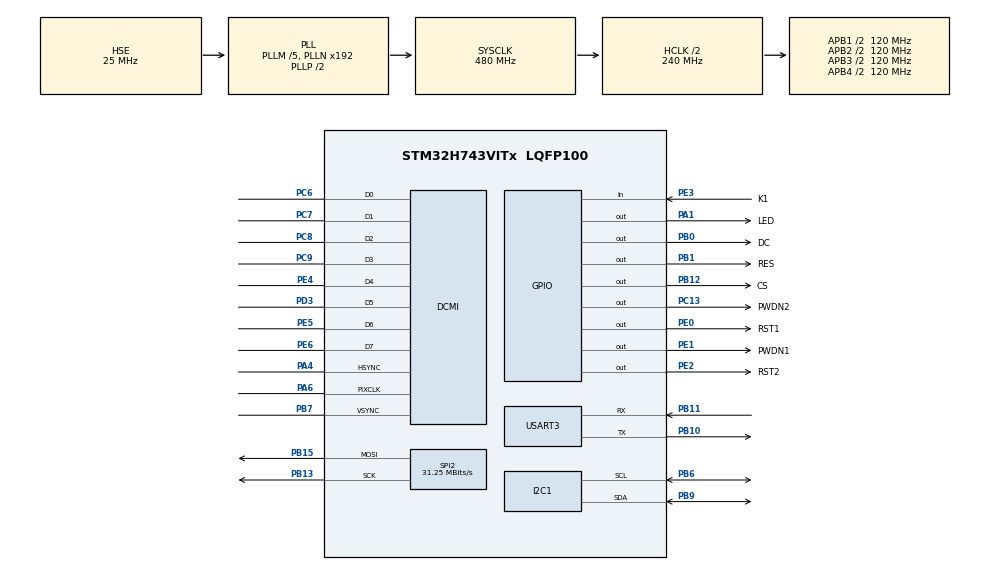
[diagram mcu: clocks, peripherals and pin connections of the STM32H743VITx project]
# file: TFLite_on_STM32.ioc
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CORTEX_M7.CPU_DCache=Enabled
CORTEX_M7.CPU_ICache=Enabled
DCMI.PCKPolarity=DCMI_PCKPOLARITY_RISING
Dma.DCMI.0.Direction=DMA_PERIPH_TO_MEMORY
Dma.DCMI.0.EventEnable=DISABLE
Dma.DCMI.0.FIFOMode=DMA_FIFOMODE_ENABLE
Dma.DCMI.0.FIFOThreshold=DMA_FIFO_THRESHOLD_FULL
Dma.DCMI.0.Instance=DMA2_Stream1
Dma.DCMI.0.MemBurst=DMA_MBURST_SINGLE
Dma.DCMI.0.MemDataAlignment=DMA_MDATAALIGN_BYTE
Dma.DCMI.0.MemInc=DMA_MINC_ENABLE
Dma.DCMI.0.Mode=DMA_CIRCULAR
Dma.DCMI.0.PeriphBurst=DMA_PBURST_SINGLE
Dma.DCMI.0.PeriphDataAlignment=DMA_PDATAALIGN_WORD
Dma.DCMI.0.PeriphInc=DMA_PINC_DISABLE
Dma.DCMI.0.Polarity=HAL_DMAMUX_REQ_GEN_RISING
Dma.DCMI.0.Priority=DMA_PRIORITY_VERY_HIGH
Dma.DCMI.0.RequestNumber=1
Dma.DCMI.0.SignalID=NONE
Dma.DCMI.0.SyncEnable=DISABLE
Dma.DCMI.0.SyncPolarity=HAL_DMAMUX_SYNC_NO_EVENT
Dma.DCMI.0.SyncRequestNumber=1
Dma.DCMI.0.SyncSignalID=NONE
Dma.Request0=DCMI
Dma.Request1=SPI2_TX
Dma.SPI2_TX.1.Direction=DMA_MEMORY_TO_PERIPH
Dma.SPI2_TX.1.EventEnable=DISABLE
Dma.SPI2_TX.1.FIFOMode=DMA_FIFOMODE_DISABLE
Dma.SPI2_TX.1.Instance=DMA1_Stream7
Dma.SPI2_TX.1.MemDataAlignment=DMA_MDATAALIGN_BYTE
Dma.SPI2_TX.1.MemInc=DMA_MINC_ENABLE
Dma.SPI2_TX.1.Mode=DMA_NORMAL
Dma.SPI2_TX.1.PeriphDataAlignment=DMA_PDATAALIGN_BYTE
Dma.SPI2_TX.1.PeriphInc=DMA_PINC_DISABLE
Dma.SPI2_TX.1.Polarity=HAL_DMAMUX_REQ_GEN_RISING
Dma.SPI2_TX.1.Priority=DMA_PRIORITY_HIGH
Dma.SPI2_TX.1.RequestNumber=1
Dma.SPI2_TX.1.SignalID=NONE
Dma.SPI2_TX.1.SyncEnable=DISABLE
Dma.SPI2_TX.1.SyncPolarity=HAL_DMAMUX_SYNC_NO_EVENT
Dma.SPI2_TX.1.SyncRequestNumber=1
Dma.SPI2_TX.1.SyncSignalID=NONE
I2C1.I2C_Fall_Time=300
I2C1.I2C_Rise_Time=300
I2C1.Timing=0x70843A4F
Mcu.Family=STM32H7
Mcu.Name=STM32H743VITx
Mcu.Package=LQFP100
NVIC.DMA1_Stream7_IRQn=true\:0\:0\:false\:false\:true\:false\:true
NVIC.DMA2_Stream1_IRQn=true\:0\:0\:false\:false\:true\:false\:true
NVIC.PriorityGroup=NVIC_PRIORITYGROUP_4
NVIC.SPI2_IRQn=true\:0\:0\:false\:false\:true\:false\:true
NVIC.TIM6_DAC_IRQn=true\:0\:0\:false\:false\:true\:true\:true
PA1.GPIO_Label=LED
PA1.GPIO_Speed=GPIO_SPEED_FREQ_MEDIUM
PA1.Signal=GPIO_Output
PA4.Mode=Slave_8_bits_External_Synchro
PA4.Signal=DCMI_HSYNC
PA6.Mode=Slave_8_bits_External_Synchro
PA6.Signal=DCMI_PIXCLK
PB0.GPIO_Label=DC
PB0.GPIO_Speed=GPIO_SPEED_FREQ_MEDIUM
PB0.Signal=GPIO_Output
PB1.GPIO_Label=RES
PB1.GPIO_Speed=GPIO_SPEED_FREQ_MEDIUM
PB1.Signal=GPIO_Output
PB10.GPIO_Speed=GPIO_SPEED_FREQ_VERY_HIGH
PB10.Mode=Asynchronous
PB10.Signal=USART3_TX
PB11.GPIO_Speed=GPIO_SPEED_FREQ_VERY_HIGH
PB11.Mode=Asynchronous
PB11.Signal=USART3_RX
PB12.GPIO_Label=CS
PB12.GPIO_Speed=GPIO_SPEED_FREQ_HIGH
PB12.Signal=GPIO_Output
PB13.Mode=TX_Only_Simplex_Unidirect_Master
PB13.Signal=SPI2_SCK
PB15.Mode=TX_Only_Simplex_Unidirect_Master
PB15.Signal=SPI2_MOSI
PB6.GPIO_Pu=GPIO_PULLUP
PB6.GPIO_Speed=GPIO_SPEED_FREQ_VERY_HIGH
PB6.Mode=I2C
PB6.Signal=I2C1_SCL
PB7.Mode=Slave_8_bits_External_Synchro
PB7.Signal=DCMI_VSYNC
PB9.GPIO_Pu=GPIO_PULLUP
PB9.GPIO_Speed=GPIO_SPEED_FREQ_VERY_HIGH
PB9.Mode=I2C
PB9.Signal=I2C1_SDA
PC13.GPIO_Label=PWDN2
PC13.Signal=GPIO_Output
PC14-OSC32_IN\ (OSC32_IN).Mode=LSE-External-Oscillator
PC14-OSC32_IN\ (OSC32_IN).Signal=RCC_OSC32_IN
PC15-OSC32_OUT\ (OSC32_OUT).Mode=LSE-External-Oscillator
PC15-OSC32_OUT\ (OSC32_OUT).Signal=RCC_OSC32_OUT
PC6.Mode=Slave_8_bits_External_Synchro
PC6.Signal=DCMI_D0
PC7.Mode=Slave_8_bits_External_Synchro
PC7.Signal=DCMI_D1
PC8.Mode=Slave_8_bits_External_Synchro
PC8.Signal=DCMI_D2
PC9.Mode=Slave_8_bits_External_Synchro
PC9.Signal=DCMI_D3
PD3.Mode=Slave_8_bits_External_Synchro
PD3.Signal=DCMI_D5
PE0.GPIO_Label=RST1
PE0.Signal=GPIO_Output
PE1.GPIO_Label=PWDN1
PE1.GPIO_Speed=GPIO_SPEED_FREQ_MEDIUM
PE1.Signal=GPIO_Output
PE2.GPIO_Label=RST2
PE2.GPIO_Speed=GPIO_SPEED_FREQ_HIGH
PE2.Signal=GPIO_Output
PE3.GPIO_Label=K1
PE3.GPIO_PuPd=GPIO_PULLUP
PE3.Signal=GPIO_Input
PE4.Mode=Slave_8_bits_External_Synchro
PE4.Signal=DCMI_D4
PE5.Mode=Slave_8_bits_External_Synchro
PE5.Signal=DCMI_D6
PE6.Mode=Slave_8_bits_External_Synchro
PE6.Signal=DCMI_D7
PH0-OSC_IN\ (PH0).Mode=HSE-External-Oscillator
PH0-OSC_IN\ (PH0).Signal=RCC_OSC_IN
PH1-OSC_OUT\ (PH1).Mode=HSE-External-Oscillator
PH1-OSC_OUT\ (PH1).Signal=RCC_OSC_OUT
ProjectManager.HeapSize=0x1000
ProjectManager.StackSize=0x1000
ProjectManager.TargetToolchain=STM32CubeIDE
RCC.ADCFreq_Value=125000000
RCC.APB1Freq_Value=120000000
RCC.APB2Freq_Value=120000000
RCC.APB3Freq_Value=120000000
RCC.APB4Freq_Value=120000000
RCC.CortexFreq_Value=480000000
RCC.D1PPRE=RCC_APB3_DIV2
RCC.D2PPRE1=RCC_APB1_DIV2
RCC.D2PPRE2=RCC_APB2_DIV2
RCC.D3PPRE=RCC_APB4_DIV2
RCC.DIVM1=5
RCC.DIVM2=4
RCC.DIVN1=192
RCC.DIVN2=100
RCC.DIVP2=5
RCC.HCLKFreq_Value=240000000
RCC.HPRE=RCC_HCLK_DIV2
RCC.PLLSourceVirtual=RCC_PLLSOURCE_HSE
RCC.RTCClockSelection=RCC_RTCCLKSOURCE_LSE
RCC.SPI123CLockSelection=RCC_SPI123CLKSOURCE_PLL2
RCC.SYSCLKFreq_VALUE=480000000
RCC.SYSCLKSource=RCC_SYSCLKSOURCE_PLLCLK
RCC.USBFreq_Value=480000000
SPI2.BaudRatePrescaler=SPI_BAUDRATEPRESCALER_4
SPI2.CalculateBaudRate=31.25 MBits/s
SPI2.DataSize=SPI_DATASIZE_8BIT
SPI2.Direction=SPI_DIRECTION_2LINES_TXONLY
SPI2.Mode=SPI_MODE_MASTER
SPI2.VirtualType=VM_MASTER
TIM6.Period=5000
TIM6.Prescaler=48000
USART3.VirtualMode-Asynchronous=VM_ASYNC
VP_CRC_VS_CRC.Mode=CRC_Activate
VP_RTC_VS_RTC_Activate.Mode=RTC_Enabled
VP_TIM6_VS_ClockSourceINT.Mode=Enable_Timer
board=custom

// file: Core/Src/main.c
/* USER CODE BEGIN Header */
/**
  ******************************************************************************
  * @file           : main.c
  * @brief          : Main program body
  ******************************************************************************
  * @attention
  *
  * <h2><center>&copy; Copyright (c) 2021 STMicroelectronics.
  * All rights reserved.</center></h2>
  *
  * This software component is licensed by ST under BSD 3-Clause license,
  * the "License"; You may not use this file except in compliance with the
  * License. You may obtain a copy of the License at:
  *                        opensource.org/licenses/BSD-3-Clause
  *
  ******************************************************************************
  */
/* USER CODE END Header */
#include "main.h"

/* USER CODE BEGIN Includes */
#include "ov2640.h"
#include "ov2640_regs.h"
#include "ili9163.h"

#include "person_detect_example.h"
/* USER CODE END Includes */

CRC_HandleTypeDef hcrc;

DCMI_HandleTypeDef hdcmi;
DMA_HandleTypeDef hdma_dcmi;

I2C_HandleTypeDef hi2c1;

RTC_HandleTypeDef hrtc;

SPI_HandleTypeDef hspi2;
DMA_HandleTypeDef hdma_spi2_tx;

TIM_HandleTypeDef htim6;

UART_HandleTypeDef huart3;

/* USER CODE BEGIN PV */
sensor_t sensor = {0};
int ret;

uint8_t fps_buf[11];
Streem_State_t SPI_State;
Streem_State_t DCMI_State;

uint8_t fps_counter = 0;
uint8_t fps = 0;

uint8_t string_buf[11];
//defined in sensor.h
__attribute__((section(".frame_buffer")))int8_t imag_b0[RGB565_128X128_BUF_SIZE] = {0};
__attribute__((section(".frame_buffer")))int8_t imag_b1[RGB565_128X128_BUF_SIZE] = {0};
__attribute__((section(".frame_buffer")))int8_t imag_b2[RGB565_128X128_BUF_SIZE] = {0};
/* USER CODE END PV */

void SystemClock_Config(void);
static void MX_GPIO_Init(void);
static void MX_CRC_Init(void);
static void MX_RTC_Init(void);
static void MX_DMA_Init(void);
static void MX_DCMI_Init(void);
static void MX_I2C1_Init(void);
static void MX_SPI2_Init(void);
static void MX_TIM6_Init(void);
static void MX_USART3_UART_Init(void);
/* USER CODE BEGIN PFP */
static void sensor_setting(I2C_HandleTypeDef *camera_i2c1);
void Non_HAL_CON_UInt_to_DecString_8bit(uint8_t data, uint8_t *decstr, uint8_t sizebuf);
void Person_detect_AI_block(uint16_t *imag_trans);
/* USER CODE END PFP */

int main(void)
{

  /* Enable I-Cache---------------------------------------------------------*/
  SCB_EnableICache();

  /* Enable D-Cache---------------------------------------------------------*/
  SCB_EnableDCache();

  /* MCU Configuration--------------------------------------------------------*/

  /* Reset of all peripherals, Initializes the Flash interface and the Systick. */
  HAL_Init();

  /* USER CODE BEGIN Init */
  fps_counter = 0;
  /* USER CODE END Init */

  /* Configure the system clock */
  SystemClock_Config();

  /* Initialize all configured peripherals */
  MX_GPIO_Init();
  MX_CRC_Init();
  MX_RTC_Init();
  MX_DMA_Init();
  MX_DCMI_Init();
  MX_I2C1_Init();
  MX_SPI2_Init();
  MX_TIM6_Init();
  MX_USART3_UART_Init();
  /* USER CODE BEGIN 2 */

  HAL_GPIO_WritePin(GPIOE, RST1_Pin, GPIO_PIN_SET);
  HAL_GPIO_WritePin(GPIOE, PWDN1_Pin, GPIO_PIN_RESET);

  sensor_setting(&hi2c1);

  ILI9163_init(0);

  HAL_TIM_Base_Start_IT(&htim6);
  HAL_TIM_Base_Start(&htim6);

  DCMI_State = REDY;
  SPI_State = REDY;
  uint8_t order = 0;

  int8_t *hdmi_buff_pointer;
  int8_t *spi_buff_pointer;
  int8_t *ai_buff_pointer;

  person_detect_setup();
  /* USER CODE END 2 */

  /* Infinite loop */
  /* USER CODE BEGIN WHILE */
  while (1)
  {
	  if(DCMI_State == REDY && SPI_State == REDY)
	  {
		  switch(order){
		  case 0:
			  hdmi_buff_pointer = imag_b0;
			  spi_buff_pointer = imag_b1;
			  ai_buff_pointer = imag_b2;
			  break;
		  case 1:
			  hdmi_buff_pointer = imag_b1;
			  spi_buff_pointer = imag_b2;
			  ai_buff_pointer = imag_b0;
			  break;
		  default:
			  hdmi_buff_pointer = imag_b2;
			  spi_buff_pointer = imag_b0;
			  ai_buff_pointer = imag_b1;
			  order = -1;
		  }

		  sensor.snapshot(hdcmi, (int32_t *)hdmi_buff_pointer);
		  DCMI_State = BUSY;

		  ILI9163_render((uint16_t *)spi_buff_pointer);
		  SPI_State = BUSY;

		  Person_detect_AI_block((uint16_t *)ai_buff_pointer);

		  while(HAL_GPIO_ReadPin(K1_GPIO_Port, K1_Pin) == GPIO_PIN_RESET){}

		  fps_counter++;
		  order++;
	  }
    /* USER CODE END WHILE */

  }
}

void SystemClock_Config(void)
{
  RCC_OscInitTypeDef RCC_OscInitStruct = {0};
  RCC_ClkInitTypeDef RCC_ClkInitStruct = {0};

  /** Supply configuration update enable
  */
  HAL_PWREx_ConfigSupply(PWR_LDO_SUPPLY);
  /** Configure the main internal regulator output voltage
  */
  __HAL_PWR_VOLTAGESCALING_CONFIG(PWR_REGULATOR_VOLTAGE_SCALE0);

  while(!__HAL_PWR_GET_FLAG(PWR_FLAG_VOSRDY)) {}
  /** Configure LSE Drive Capability
  */
  HAL_PWR_EnableBkUpAccess();
  __HAL_RCC_LSEDRIVE_CONFIG(RCC_LSEDRIVE_LOW);
  /** Macro to configure the PLL clock source
  */
  __HAL_RCC_PLL_PLLSOURCE_CONFIG(RCC_PLLSOURCE_HSE);
  /** Initializes the RCC Oscillators according to the specified parameters
  * in the RCC_OscInitTypeDef structure.
  */
  RCC_OscInitStruct.OscillatorType = RCC_OSCILLATORTYPE_HSE|RCC_OSCILLATORTYPE_LSE;
  RCC_OscInitStruct.HSEState = RCC_HSE_ON;
  RCC_OscInitStruct.LSEState = RCC_LSE_ON;
  RCC_OscInitStruct.PLL.PLLState = RCC_PLL_ON;
  RCC_OscInitStruct.PLL.PLLSource = RCC_PLLSOURCE_HSE;
  RCC_OscInitStruct.PLL.PLLM = 5;
  RCC_OscInitStruct.PLL.PLLN = 192;
  RCC_OscInitStruct.PLL.PLLP = 2;
  RCC_OscInitStruct.PLL.PLLQ = 2;
  RCC_OscInitStruct.PLL.PLLR = 2;
  RCC_OscInitStruct.PLL.PLLRGE = RCC_PLL1VCIRANGE_2;
  RCC_OscInitStruct.PLL.PLLVCOSEL = RCC_PLL1VCOWIDE;
  RCC_OscInitStruct.PLL.PLLFRACN = 0;
  if (HAL_RCC_OscConfig(&RCC_OscInitStruct) != HAL_OK)
  {
    Error_Handler();
  }
  /** Initializes the CPU, AHB and APB buses clocks
  */
  RCC_ClkInitStruct.ClockType = RCC_CLOCKTYPE_HCLK|RCC_CLOCKTYPE_SYSCLK
                              |RCC_CLOCKTYPE_PCLK1|RCC_CLOCKTYPE_PCLK2
                              |RCC_CLOCKTYPE_D3PCLK1|RCC_CLOCKTYPE_D1PCLK1;
  RCC_ClkInitStruct.SYSCLKSource = RCC_SYSCLKSOURCE_PLLCLK;
  RCC_ClkInitStruct.SYSCLKDivider = RCC_SYSCLK_DIV1;
  RCC_ClkInitStruct.AHBCLKDivider = RCC_HCLK_DIV2;
  RCC_ClkInitStruct.APB3CLKDivider = RCC_APB3_DIV2;
  RCC_ClkInitStruct.APB1CLKDivider = RCC_APB1_DIV2;
  RCC_ClkInitStruct.APB2CLKDivider = RCC_APB2_DIV2;
  RCC_ClkInitStruct.APB4CLKDivider = RCC_APB4_DIV2;

  if (HAL_RCC_ClockConfig(&RCC_ClkInitStruct, FLASH_LATENCY_4) != HAL_OK)
  {
    Error_Handler();
  }
}

static void MX_CRC_Init(void)
{

  hcrc.Instance = CRC;
  hcrc.Init.DefaultPolynomialUse = DEFAULT_POLYNOMIAL_ENABLE;
  hcrc.Init.DefaultInitValueUse = DEFAULT_INIT_VALUE_ENABLE;
  hcrc.Init.InputDataInversionMode = CRC_INPUTDATA_INVERSION_NONE;
  hcrc.Init.OutputDataInversionMode = CRC_OUTPUTDATA_INVERSION_DISABLE;
  hcrc.InputDataFormat = CRC_INPUTDATA_FORMAT_BYTES;
  if (HAL_CRC_Init(&hcrc) != HAL_OK)
  {
    Error_Handler();
  }

}

static void MX_DCMI_Init(void)
{

  hdcmi.Instance = DCMI;
  hdcmi.Init.SynchroMode = DCMI_SYNCHRO_HARDWARE;
  hdcmi.Init.PCKPolarity = DCMI_PCKPOLARITY_RISING;
  hdcmi.Init.VSPolarity = DCMI_VSPOLARITY_LOW;
  hdcmi.Init.HSPolarity = DCMI_HSPOLARITY_LOW;
  hdcmi.Init.CaptureRate = DCMI_CR_ALL_FRAME;
  hdcmi.Init.ExtendedDataMode = DCMI_EXTEND_DATA_8B;
  hdcmi.Init.JPEGMode = DCMI_JPEG_DISABLE;
  hdcmi.Init.ByteSelectMode = DCMI_BSM_ALL;
  hdcmi.Init.ByteSelectStart = DCMI_OEBS_ODD;
  hdcmi.Init.LineSelectMode = DCMI_LSM_ALL;
  hdcmi.Init.LineSelectStart = DCMI_OELS_ODD;
  if (HAL_DCMI_Init(&hdcmi) != HAL_OK)
  {
    Error_Handler();
  }

}

static void MX_I2C1_Init(void)
{

  hi2c1.Instance = I2C1;
  hi2c1.Init.Timing = 0x70843A4F;
  hi2c1.Init.OwnAddress1 = 0;
  hi2c1.Init.AddressingMode = I2C_ADDRESSINGMODE_7BIT;
  hi2c1.Init.DualAddressMode = I2C_DUALADDRESS_DISABLE;
  hi2c1.Init.OwnAddress2 = 0;
  hi2c1.Init.OwnAddress2Masks = I2C_OA2_NOMASK;
  hi2c1.Init.GeneralCallMode = I2C_GENERALCALL_DISABLE;
  hi2c1.Init.NoStretchMode = I2C_NOSTRETCH_DISABLE;
  if (HAL_I2C_Init(&hi2c1) != HAL_OK)
  {
    Error_Handler();
  }
  /** Configure Analogue filter
  */
  if (HAL_I2CEx_ConfigAnalogFilter(&hi2c1, I2C_ANALOGFILTER_ENABLE) != HAL_OK)
  {
    Error_Handler();
  }
  /** Configure Digital filter
  */
  if (HAL_I2CEx_ConfigDigitalFilter(&hi2c1, 0) != HAL_OK)
  {
    Error_Handler();
  }

}

static void MX_RTC_Init(void)
{

  /** Initialize RTC Only
  */
  hrtc.Instance = RTC;
  hrtc.Init.HourFormat = RTC_HOURFORMAT_24;
  hrtc.Init.AsynchPrediv = 127;
  hrtc.Init.SynchPrediv = 255;
  hrtc.Init.OutPut = RTC_OUTPUT_DISABLE;
  hrtc.Init.OutPutPolarity = RTC_OUTPUT_POLARITY_HIGH;
  hrtc.Init.OutPutType = RTC_OUTPUT_TYPE_OPENDRAIN;
  hrtc.Init.OutPutRemap = RTC_OUTPUT_REMAP_NONE;
  if (HAL_RTC_Init(&hrtc) != HAL_OK)
  {
    Error_Handler();
  }

}

static void MX_SPI2_Init(void)
{

  /* SPI2 parameter configuration*/
  hspi2.Instance = SPI2;
  hspi2.Init.Mode = SPI_MODE_MASTER;
  hspi2.Init.Direction = SPI_DIRECTION_2LINES_TXONLY;
  hspi2.Init.DataSize = SPI_DATASIZE_8BIT;
  hspi2.Init.CLKPolarity = SPI_POLARITY_LOW;
  hspi2.Init.CLKPhase = SPI_PHASE_1EDGE;
  hspi2.Init.NSS = SPI_NSS_SOFT;
  hspi2.Init.BaudRatePrescaler = SPI_BAUDRATEPRESCALER_4;
  hspi2.Init.FirstBit = SPI_FIRSTBIT_MSB;
  hspi2.Init.TIMode = SPI_TIMODE_DISABLE;
  hspi2.Init.CRCCalculation = SPI_CRCCALCULATION_DISABLE;
  hspi2.Init.CRCPolynomial = 0x0;
  hspi2.Init.NSSPMode = SPI_NSS_PULSE_ENABLE;
  hspi2.Init.NSSPolarity = SPI_NSS_POLARITY_LOW;
  hspi2.Init.FifoThreshold = SPI_FIFO_THRESHOLD_01DATA;
  hspi2.Init.TxCRCInitializationPattern = SPI_CRC_INITIALIZATION_ALL_ZERO_PATTERN;
  hspi2.Init.RxCRCInitializationPattern = SPI_CRC_INITIALIZATION_ALL_ZERO_PATTERN;
  hspi2.Init.MasterSSIdleness = SPI_MASTER_SS_IDLENESS_00CYCLE;
  hspi2.Init.MasterInterDataIdleness = SPI_MASTER_INTERDATA_IDLENESS_00CYCLE;
  hspi2.Init.MasterReceiverAutoSusp = SPI_MASTER_RX_AUTOSUSP_DISABLE;
  hspi2.Init.MasterKeepIOState = SPI_MASTER_KEEP_IO_STATE_DISABLE;
  hspi2.Init.IOSwap = SPI_IO_SWAP_DISABLE;
  if (HAL_SPI_Init(&hspi2) != HAL_OK)
  {
    Error_Handler();
  }

}

static void MX_TIM6_Init(void)
{

  TIM_MasterConfigTypeDef sMasterConfig = {0};

  htim6.Instance = TIM6;
  htim6.Init.Prescaler = 48000;
  htim6.Init.CounterMode = TIM_COUNTERMODE_UP;
  htim6.Init.Period = 5000;
  htim6.Init.AutoReloadPreload = TIM_AUTORELOAD_PRELOAD_DISABLE;
  if (HAL_TIM_Base_Init(&htim6) != HAL_OK)
  {
    Error_Handler();
  }
  sMasterConfig.MasterOutputTrigger = TIM_TRGO_RESET;
  sMasterConfig.MasterSlaveMode = TIM_MASTERSLAVEMODE_DISABLE;
  if (HAL_TIMEx_MasterConfigSynchronization(&htim6, &sMasterConfig) != HAL_OK)
  {
    Error_Handler();
  }

}

static void MX_USART3_UART_Init(void)
{

  huart3.Instance = USART3;
  huart3.Init.BaudRate = 115200;
  huart3.Init.WordLength = UART_WORDLENGTH_8B;
  huart3.Init.StopBits = UART_STOPBITS_1;
  huart3.Init.Parity = UART_PARITY_NONE;
  huart3.Init.Mode = UART_MODE_TX_RX;
  huart3.Init.HwFlowCtl = UART_HWCONTROL_NONE;
  huart3.Init.OverSampling = UART_OVERSAMPLING_16;
  huart3.Init.OneBitSampling = UART_ONE_BIT_SAMPLE_DISABLE;
  huart3.Init.ClockPrescaler = UART_PRESCALER_DIV1;
  huart3.AdvancedInit.AdvFeatureInit = UART_ADVFEATURE_NO_INIT;
  if (HAL_UART_Init(&huart3) != HAL_OK)
  {
    Error_Handler();
  }
  if (HAL_UARTEx_SetTxFifoThreshold(&huart3, UART_TXFIFO_THRESHOLD_1_8) != HAL_OK)
  {
    Error_Handler();
  }
  if (HAL_UARTEx_SetRxFifoThreshold(&huart3, UART_RXFIFO_THRESHOLD_1_8) != HAL_OK)
  {
    Error_Handler();
  }
  if (HAL_UARTEx_DisableFifoMode(&huart3) != HAL_OK)
  {
    Error_Handler();
  }

}

static void MX_DMA_Init(void)
{

  /* DMA controller clock enable */
  __HAL_RCC_DMA2_CLK_ENABLE();
  __HAL_RCC_DMA1_CLK_ENABLE();

  /* DMA interrupt init */
  /* DMA1_Stream7_IRQn interrupt configuration */
  HAL_NVIC_SetPriority(DMA1_Stream7_IRQn, 0, 0);
  HAL_NVIC_EnableIRQ(DMA1_Stream7_IRQn);
  /* DMA2_Stream1_IRQn interrupt configuration */
  HAL_NVIC_SetPriority(DMA2_Stream1_IRQn, 0, 0);
  HAL_NVIC_EnableIRQ(DMA2_Stream1_IRQn);

}

static void MX_GPIO_Init(void)
{
  GPIO_InitTypeDef GPIO_InitStruct = {0};

  /* GPIO Ports Clock Enable */
  __HAL_RCC_GPIOE_CLK_ENABLE();
  __HAL_RCC_GPIOC_CLK_ENABLE();
  __HAL_RCC_GPIOH_CLK_ENABLE();
  __HAL_RCC_GPIOA_CLK_ENABLE();
  __HAL_RCC_GPIOB_CLK_ENABLE();
  __HAL_RCC_GPIOD_CLK_ENABLE();

  /*Configure GPIO pin Output Level */
  HAL_GPIO_WritePin(GPIOE, RST2_Pin|RST1_Pin|PWDN1_Pin, GPIO_PIN_RESET);

  /*Configure GPIO pin Output Level */
  HAL_GPIO_WritePin(PWDN2_GPIO_Port, PWDN2_Pin, GPIO_PIN_RESET);

  /*Configure GPIO pin Output Level */
  HAL_GPIO_WritePin(LED_GPIO_Port, LED_Pin, GPIO_PIN_RESET);

  /*Configure GPIO pin Output Level */
  HAL_GPIO_WritePin(GPIOB, DC_Pin|RES_Pin|CS_Pin, GPIO_PIN_RESET);

  /*Configure GPIO pin : RST2_Pin */
  GPIO_InitStruct.Pin = RST2_Pin;
  GPIO_InitStruct.Mode = GPIO_MODE_OUTPUT_PP;
  GPIO_InitStruct.Pull = GPIO_NOPULL;
  GPIO_InitStruct.Speed = GPIO_SPEED_FREQ_HIGH;
  HAL_GPIO_Init(RST2_GPIO_Port, &GPIO_InitStruct);

  /*Configure GPIO pin : K1_Pin */
  GPIO_InitStruct.Pin = K1_Pin;
  GPIO_InitStruct.Mode = GPIO_MODE_INPUT;
  GPIO_InitStruct.Pull = GPIO_PULLUP;
  HAL_GPIO_Init(K1_GPIO_Port, &GPIO_InitStruct);

  /*Configure GPIO pin : PWDN2_Pin */
  GPIO_InitStruct.Pin = PWDN2_Pin;
  GPIO_InitStruct.Mode = GPIO_MODE_OUTPUT_PP;
  GPIO_InitStruct.Pull = GPIO_NOPULL;
  GPIO_InitStruct.Speed = GPIO_SPEED_FREQ_LOW;
  HAL_GPIO_Init(PWDN2_GPIO_Port, &GPIO_InitStruct);

  /*Configure GPIO pin : LED_Pin */
  GPIO_InitStruct.Pin = LED_Pin;
  GPIO_InitStruct.Mode = GPIO_MODE_OUTPUT_PP;
  GPIO_InitStruct.Pull = GPIO_NOPULL;
  GPIO_InitStruct.Speed = GPIO_SPEED_FREQ_MEDIUM;
  HAL_GPIO_Init(LED_GPIO_Port, &GPIO_InitStruct);

  /*Configure GPIO pins : DC_Pin RES_Pin */
  GPIO_InitStruct.Pin = DC_Pin|RES_Pin;
  GPIO_InitStruct.Mode = GPIO_MODE_OUTPUT_PP;
  GPIO_InitStruct.Pull = GPIO_NOPULL;
  GPIO_InitStruct.Speed = GPIO_SPEED_FREQ_MEDIUM;
  HAL_GPIO_Init(GPIOB, &GPIO_InitStruct);

  /*Configure GPIO pin : CS_Pin */
  GPIO_InitStruct.Pin = CS_Pin;
  GPIO_InitStruct.Mode = GPIO_MODE_OUTPUT_PP;
  GPIO_InitStruct.Pull = GPIO_NOPULL;
  GPIO_InitStruct.Speed = GPIO_SPEED_FREQ_HIGH;
  HAL_GPIO_Init(CS_GPIO_Port, &GPIO_InitStruct);

  /*Configure GPIO pin : RST1_Pin */
  GPIO_InitStruct.Pin = RST1_Pin;
  GPIO_InitStruct.Mode = GPIO_MODE_OUTPUT_PP;
  GPIO_InitStruct.Pull = GPIO_NOPULL;
  GPIO_InitStruct.Speed = GPIO_SPEED_FREQ_LOW;
  HAL_GPIO_Init(RST1_GPIO_Port, &GPIO_InitStruct);

  /*Configure GPIO pin : PWDN1_Pin */
  GPIO_InitStruct.Pin = PWDN1_Pin;
  GPIO_InitStruct.Mode = GPIO_MODE_OUTPUT_PP;
  GPIO_InitStruct.Pull = GPIO_NOPULL;
  GPIO_InitStruct.Speed = GPIO_SPEED_FREQ_MEDIUM;
  HAL_GPIO_Init(PWDN1_GPIO_Port, &GPIO_InitStruct);

}

/* USER CODE BEGIN 4 */
static void sensor_setting(I2C_HandleTypeDef *camera_i2c1)
{
	  sensor.bus.i2c = camera_i2c1;
	  ov2640_init(&sensor);

	  sensor.write_reg(&sensor, BANK_SEL, 0x01);
	  if(sensor.read_reg(&sensor, REG_PID) != sensor.pid)
	  {
		  Error_Handler();
	  }
	  if(sensor.read_reg(&sensor, REG_VER) != sensor.rev)
	  {
		  Error_Handler();
	  }

	  sensor.pixformat = PIXFORMAT_RGB565;

	  sensor.framesize = FRAMESIZE_128X128;

	  sensor.contrast_level = 2;
	  sensor.brightness_level = 2;
	  sensor.saturation_level = 2;

	  if(sensor.reset(&sensor) == -1)
	  {
		  Error_Handler();
	  }
	  if(sensor.set(&sensor) == -1)
	  {
		  Error_Handler();
	  }
}

void Non_HAL_CON_UInt_to_DecString_8bit(uint8_t data, uint8_t *decstr, uint8_t sizebuf)
{
    char first_zeroflag = 1;
    for(char i=100; i>0; i/=10)
    {
      *decstr = ((data/i)%10) + '0';
      if(*decstr != 0 + '0' || first_zeroflag == 0)
      {
        decstr++;
        first_zeroflag = 0;
      }
    }
    *decstr = 0;
}

void Person_detect_AI_block(uint16_t *imag_trans)
{
  ILI9163_fillRect(imag_trans, 70, 0, 128, 20, 0xffff);
  ILI9163_fillRect(imag_trans, 0, 109, 128, 128, 0xffff);

  int8_t tres;

  SCB_EnableDCache();
  person_detect_exe((uint16_t *)imag_trans, &tres);
  SCB_DisableDCache();

  uint8_t res = (uint8_t)((float)(tres + 128) * 0.39); //conv to %
  Non_HAL_CON_UInt_to_DecString_8bit(res, string_buf, sizeof(string_buf));

  for(int i = 0; string_buf[i] != 0x0; i++)
  {
	ILI9163_drawChar((uint16_t *)imag_trans, 72 + (i*11), 110, string_buf[i], Font_11x18, 0x0);
  }

  ILI9163_drawChar(imag_trans, 103 - (3*11), 1, 'f', Font_11x18, 0x0);
  ILI9163_drawChar(imag_trans, 103 - (2*11), 1, 'p', Font_11x18, 0x0);
  ILI9163_drawChar(imag_trans, 103 - (1*11), 1, 's', Font_11x18, 0x0);
  ILI9163_drawChar(imag_trans, 99, 1, ':', Font_11x18, 0x0);

  char *str_person = "person";
  for(int i = 0; str_person[i] != 0x0; i++)
  {
    ILI9163_drawChar(imag_trans, 1 + (i*11), 110, str_person[i], Font_11x18, 0x0);
  }
  ILI9163_drawChar(imag_trans, 64, 110, ':', Font_11x18, 0x0);
  ILI9163_drawChar(imag_trans, 94, 110, '%', Font_11x18, 0x0);

  Non_HAL_CON_UInt_to_DecString_8bit(fps, string_buf, sizeof(string_buf));
  for(int i = 0; string_buf[i] != 0x0; i++)
  {
	ILI9163_drawChar(imag_trans, 105 + (i*11), 1, string_buf[i], Font_11x18, 0x0);
  }
}
/* USER CODE END 4 */

void Error_Handler(void)
{
  __disable_irq();
  while (1)
  {
  }
}

/************************ (C) COPYRIGHT STMicroelectronics *****END OF FILE****/
